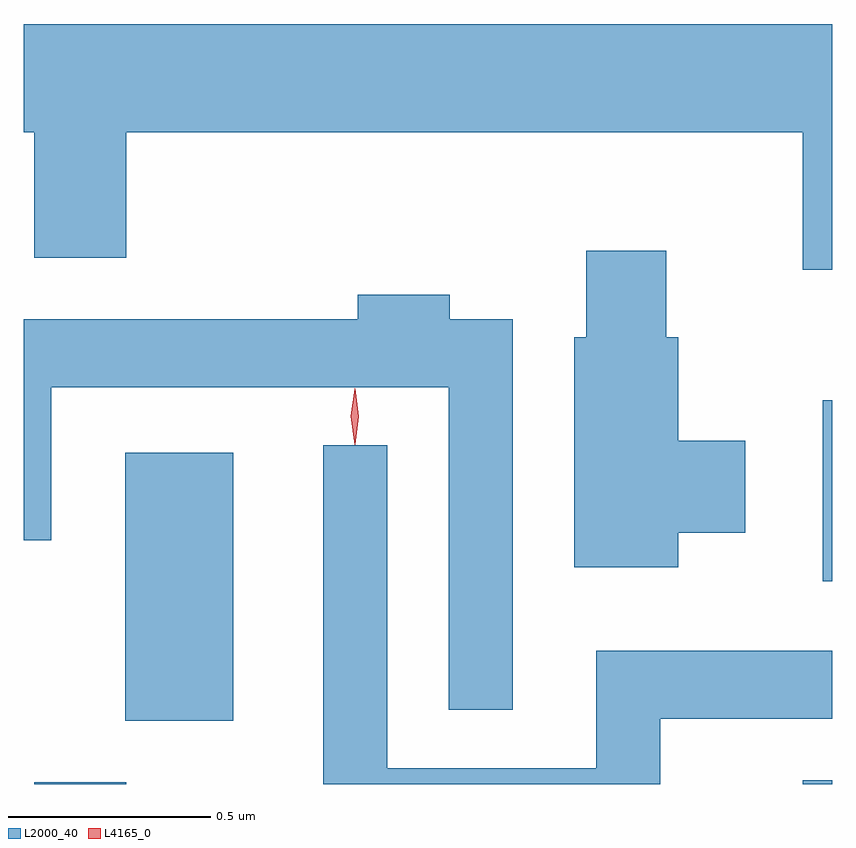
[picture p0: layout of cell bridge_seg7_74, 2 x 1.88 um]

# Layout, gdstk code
import gdstk
lib = gdstk.Library(unit=1e-6, precision=1e-09)
def R(c, l, rs):  # rectangles x0, y0, x1, y1
    for r in rs: c.add(gdstk.rectangle(r[:2], r[2:], *l))
def P(c, l, *ps):  # polygons
    for p in ps: c.add(gdstk.Polygon(p, *l))
L2000_40 = (2000, 40)
L4165_0 = (4165, 0)

bridge_seg7_74 = lib.new_cell('bridge_seg7_74')
R(bridge_seg7_74, L2000_40, [(1568.131,1781.525,1568.359,1781.529), (1570.031,1781.525,1570.105,1781.534), (1568.356,1781.681,1568.624,1782.344), (1570.081,1782.026,1570.105,1782.474)])
P(bridge_seg7_74, L2000_40, [(1570.105,1783.404),(1568.105,1783.404),(1568.105,1783.136),(1568.131,1783.136),(1568.131,1782.826),(1568.359,1782.826),(1568.359,1783.136),(1570.031,1783.136),(1570.031,1782.796),(1570.105,1782.796)],
  [(1569.724,1782.146),(1569.889,1782.146),(1569.889,1782.374),(1569.724,1782.374),(1569.724,1782.629),(1569.694,1782.629),(1569.694,1782.844),(1569.496,1782.844),(1569.496,1782.629),(1569.466,1782.629),(1569.466,1782.061),(1569.724,1782.061)],
  [(1569.314,1782.674),(1569.159,1782.674),(1569.159,1782.734),(1568.931,1782.734),(1568.931,1782.674),(1568.105,1782.674),(1568.105,1782.128),(1568.174,1782.128),(1568.174,1782.506),(1569.156,1782.506),(1569.156,1781.708),(1569.314,1781.708)],
  [(1569.679,1781.686),(1570.105,1781.686),(1570.105,1781.854),(1569.521,1781.854),(1569.521,1781.564),(1569.004,1781.564),(1569.004,1782.363),(1568.846,1782.363),(1568.846,1781.525),(1569.679,1781.525)])
P(bridge_seg7_74, L4165_0, [(1568.924,1782.364),(1568.924,1782.364),(1568.914,1782.434),(1568.924,1782.502),(1568.924,1782.503),(1568.925,1782.502),(1568.934,1782.434),(1568.925,1782.364)],
  [(1568.924,1782.367),(1568.924,1782.367),(1568.914,1782.434),(1568.924,1782.5),(1568.924,1782.5),(1568.925,1782.5),(1568.934,1782.434),(1568.925,1782.367)])

lib.write_gds('bridge_seg7_74.gds')
